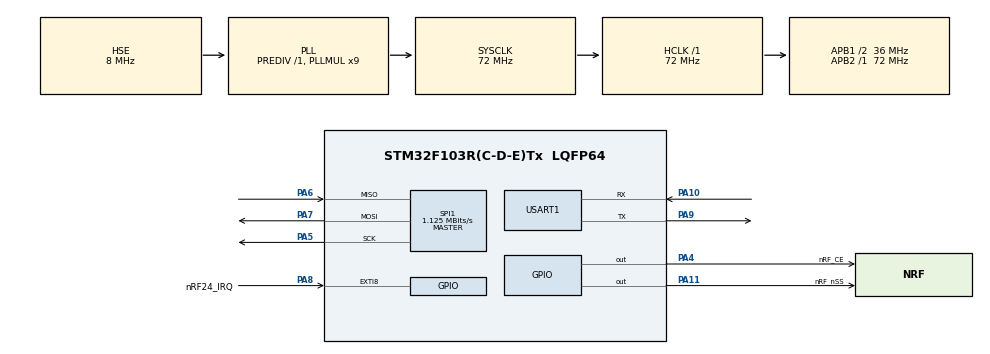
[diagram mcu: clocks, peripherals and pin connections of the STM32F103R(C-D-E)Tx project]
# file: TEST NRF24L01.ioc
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Mcu.Family=STM32F1
Mcu.Name=STM32F103R(C-D-E)Tx
Mcu.Package=LQFP64
NVIC.EXTI9_5_IRQn=true\:0\:0\:false\:false\:true\:true
NVIC.PriorityGroup=NVIC_PRIORITYGROUP_4
NVIC.USART1_IRQn=true\:0\:0\:false\:false\:true\:true
PA10.Mode=Asynchronous
PA10.Signal=USART1_RX
PA11.GPIO_Label=nRF_nSS
PA11.GPIO_ModeDefaultOutputPP=GPIO_MODE_OUTPUT_PP
PA11.GPIO_Speed=GPIO_SPEED_FREQ_HIGH
PA11.PinState=GPIO_PIN_SET
PA11.Signal=GPIO_Output
PA13.Mode=Serial_Wire
PA13.Signal=SYS_JTMS-SWDIO
PA14.Mode=Serial_Wire
PA14.Signal=SYS_JTCK-SWCLK
PA4.GPIO_Label=nRF_CE
PA4.GPIO_Speed=GPIO_SPEED_FREQ_HIGH
PA4.PinState=GPIO_PIN_SET
PA4.Signal=GPIO_Output
PA5.Mode=Full_Duplex_Master
PA5.Signal=SPI1_SCK
PA6.Mode=Full_Duplex_Master
PA6.Signal=SPI1_MISO
PA7.Mode=Full_Duplex_Master
PA7.Signal=SPI1_MOSI
PA8.GPIO_Label=nRF24_IRQ
PA8.GPIO_ModeDefaultEXTI=GPIO_MODE_IT_FALLING
PA8.Signal=GPXTI8
PA9.Mode=Asynchronous
PA9.Signal=USART1_TX
PD0-OSC_IN.Mode=HSE-External-Oscillator
PD0-OSC_IN.Signal=RCC_OSC_IN
PD1-OSC_OUT.Mode=HSE-External-Oscillator
PD1-OSC_OUT.Signal=RCC_OSC_OUT
ProjectManager.HeapSize=0x200
ProjectManager.StackSize=0x400
ProjectManager.TargetToolchain=MDK-ARM V5
RCC.AHBFreq_Value=72000000
RCC.APB1CLKDivider=RCC_HCLK_DIV2
RCC.APB1Freq_Value=36000000
RCC.APB1TimFreq_Value=72000000
RCC.APB2Freq_Value=72000000
RCC.APB2TimFreq_Value=72000000
RCC.HCLKFreq_Value=72000000
RCC.PLLMUL=RCC_PLL_MUL9
RCC.PLLSourceVirtual=RCC_PLLSOURCE_HSE
RCC.SYSCLKFreq_VALUE=72000000
RCC.SYSCLKSource=RCC_SYSCLKSOURCE_PLLCLK
RCC.USBFreq_Value=72000000
SPI1.BaudRatePrescaler=SPI_BAUDRATEPRESCALER_64
SPI1.CalculateBaudRate=1.125 MBits/s
SPI1.Direction=SPI_DIRECTION_2LINES
SPI1.Mode=SPI_MODE_MASTER
SPI1.VirtualType=VM_MASTER
USART1.VirtualMode=VM_ASYNC
board=TEST NRF24L01

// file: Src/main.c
/**
  ******************************************************************************
  * @file           : main.c
  * @brief          : Main program body
  ******************************************************************************
  ** This notice applies to any and all portions of this file
  * that are not between comment pairs USER CODE BEGIN and
  * USER CODE END. Other portions of this file, whether
  * inserted by the user or by software development tools
  * are owned by their respective copyright owners.
  *
  * COPYRIGHT(c) 2018 STMicroelectronics
  *
  * Redistribution and use in source and binary forms, with or without modification,
  * are permitted provided that the following conditions are met:
  *   1. Redistributions of source code must retain the above copyright notice,
  *      this list of conditions and the following disclaimer.
  *   2. Redistributions in binary form must reproduce the above copyright notice,
  *      this list of conditions and the following disclaimer in the documentation
  *      and/or other materials provided with the distribution.
  *   3. Neither the name of STMicroelectronics nor the names of its contributors
  *      may be used to endorse or promote products derived from this software
  *      without specific prior written permission.
  *
  * THIS SOFTWARE IS PROVIDED BY THE COPYRIGHT HOLDERS AND CONTRIBUTORS "AS IS"
  * AND ANY EXPRESS OR IMPLIED WARRANTIES, INCLUDING, BUT NOT LIMITED TO, THE
  * IMPLIED WARRANTIES OF MERCHANTABILITY AND FITNESS FOR A PARTICULAR PURPOSE ARE
  * DISCLAIMED. IN NO EVENT SHALL THE COPYRIGHT HOLDER OR CONTRIBUTORS BE LIABLE
  * FOR ANY DIRECT, INDIRECT, INCIDENTAL, SPECIAL, EXEMPLARY, OR CONSEQUENTIAL
  * DAMAGES (INCLUDING, BUT NOT LIMITED TO, PROCUREMENT OF SUBSTITUTE GOODS OR
  * SERVICES; LOSS OF USE, DATA, OR PROFITS; OR BUSINESS INTERRUPTION) HOWEVER
  * CAUSED AND ON ANY THEORY OF LIABILITY, WHETHER IN CONTRACT, STRICT LIABILITY,
  * OR TORT (INCLUDING NEGLIGENCE OR OTHERWISE) ARISING IN ANY WAY OUT OF THE USE
  * OF THIS SOFTWARE, EVEN IF ADVISED OF THE POSSIBILITY OF SUCH DAMAGE.
  *
  ******************************************************************************
  */
#include "main.h"
#include "stm32f1xx_hal.h"

/* USER CODE BEGIN Includes */
#include "nRF24L01P.h"
/* USER CODE END Includes */

SPI_HandleTypeDef hspi1;

UART_HandleTypeDef huart1;

/* USER CODE BEGIN PV */
/* Private variables ---------------------------------------------------------*/
nRF24L01P myNRF;
const uint8_t RXAddr[5] = {0xE7, 0xE7, 0xE7, 0xE7, 0xE7};
const uint8_t TXAddr[5] = {0xE7, 0xE7, 0xE7, 0xE7, 0xE7};
int check=0;
uint8_t Data[32], send[32]= "dfd test";
uint8_t RXBuffer[32], TXBuffer[32], regStatus, uartSent;
/* USER CODE END PV */

void SystemClock_Config(void);
static void MX_GPIO_Init(void);
static void MX_SPI1_Init(void);
static void MX_USART1_UART_Init(void);

/* USER CODE BEGIN PFP */
/* Private function prototypes -----------------------------------------------*/

/* USER CODE END PFP */

int main(void)
{

  /* MCU Configuration----------------------------------------------------------*/

  /* Reset of all peripherals, Initializes the Flash interface and the Systick. */
  HAL_Init();

  /* Configure the system clock */
  SystemClock_Config();

  /* Initialize all configured peripherals */
  MX_GPIO_Init();
  MX_SPI1_Init();
  MX_USART1_UART_Init();
  /* USER CODE BEGIN 2 */
//  myNRF.hspi = &hspi1;														// You should make this definition at CubeMX
//	myNRF.CRC_Width = nRF_CRC_WIDTH_BYTE;
//	myNRF.ADDR_Width = nRF_ADDR_WIDTH_5;
//	myNRF.Data_Rate = nRF_DATA_RATE_2MBPS;
//	myNRF.TX_Power = nRF_TX_PWR_0dBm;
//	myNRF.State = nRF_STATE_RX;

//	myNRF.RF_Channel = 2;
//	myNRF.PayloadWidth = nRF_RXPW_32BYTES;
//	myNRF.RetransmitCount = nRF_RETX_COUNT_5;
//	myNRF.RetransmitDelay = nRF_RETX_DELAY_1000uS;

//	myNRF.RX_Address = (uint8_t *)RXAddr;
//	myNRF.TX_Address = (uint8_t *)TXAddr;

//	myNRF.RX_Buffer = RXBuffer;   // khai bao mang luu du lieu
//	myNRF.TX_Buffer = TXBuffer;

//	myNRF.nRF_nSS_GPIO_PORT = nRF_nSS_GPIO_Port;	// You should make this definition at CubeMX
//	myNRF.nRF_nSS_GPIO_PIN = nRF_nSS_Pin;					// You should make this definition at CubeMX

//	myNRF.nRF_CE_GPIO_PORT = nRF_CE_GPIO_Port;		// You should make this definition at CubeMX
//	myNRF.nRF_CE_GPIO_PIN = nRF_CE_Pin;						// You should make this definition at CubeMX
//	/* ---- myNRF24L01+ Definitions ---- */
//
//	if(HAL_nRF24L01P_Init(&myNRF) != HAL_OK)
//	{
//		check=1;
//		HAL_UART_Transmit(&huart1, (uint8_t *)"nRF24 Init fucked UP!\r\n", 23, 250);
//		Error_Handler();
//	} else {
//		check=2;
//		HAL_UART_Transmit(&huart1, (uint8_t *)"nRF24 Init is OK!\r\n", 19, 250);
//	}
//	uartSent = 1;u
  myNRF.hspi = &hspi1;														// You should make this definition at CubeMX
	myNRF.CRC_Width = nRF_CRC_WIDTH_BYTE;
	myNRF.ADDR_Width = nRF_ADDR_WIDTH_5;
	myNRF.Data_Rate = nRF_DATA_RATE_2MBPS;
	myNRF.TX_Power = nRF_TX_PWR_0dBm;
	myNRF.State = nRF_STATE_TX;

	myNRF.RF_Channel = 2;
	myNRF.PayloadWidth = nRF_RXPW_32BYTES;
	myNRF.RetransmitCount = nRF_RETX_COUNT_5;
	myNRF.RetransmitDelay = nRF_RETX_DELAY_1000uS;

	myNRF.RX_Address = (uint8_t *)RXAddr;
	myNRF.TX_Address = (uint8_t *)TXAddr;

	myNRF.RX_Buffer = RXBuffer;
	myNRF.TX_Buffer = TXBuffer;

	myNRF.nRF_nSS_GPIO_PORT = nRF_nSS_GPIO_Port;	// You should make this definition at CubeMX
	myNRF.nRF_nSS_GPIO_PIN = nRF_nSS_Pin;					// You should make this definition at CubeMX

	myNRF.nRF_CE_GPIO_PORT = nRF_CE_GPIO_Port;		// You should make this definition at CubeMX
	myNRF.nRF_CE_GPIO_PIN = nRF_CE_Pin;						// You should make this definition at CubeMX
	if(HAL_nRF24L01P_Init(&myNRF) != HAL_OK)
	{
		check=1;
		HAL_UART_Transmit(&huart1, (uint8_t *)"nRF24 Init fucked UP!\r\n", 23, 250);
		Error_Handler();

	} else {
		HAL_UART_Transmit(&huart1, (uint8_t *)"nRF24 Init is OK!\r\n", 19, 250);
		check=2;
	}
  /* USER CODE END 2 */

  /* Infinite loop */
  while (1)
  {

  /* USER CODE BEGIN 3 */
   HAL_nRF24L01P_TransmitPacket(&myNRF, send);
	 HAL_Delay(200);
  }
  /* USER CODE END 3 */

}

void SystemClock_Config(void)
{

  RCC_OscInitTypeDef RCC_OscInitStruct;
  RCC_ClkInitTypeDef RCC_ClkInitStruct;

    /**Initializes the CPU, AHB and APB busses clocks
    */
  RCC_OscInitStruct.OscillatorType = RCC_OSCILLATORTYPE_HSE;
  RCC_OscInitStruct.HSEState = RCC_HSE_ON;
  RCC_OscInitStruct.HSEPredivValue = RCC_HSE_PREDIV_DIV1;
  RCC_OscInitStruct.HSIState = RCC_HSI_ON;
  RCC_OscInitStruct.PLL.PLLState = RCC_PLL_ON;
  RCC_OscInitStruct.PLL.PLLSource = RCC_PLLSOURCE_HSE;
  RCC_OscInitStruct.PLL.PLLMUL = RCC_PLL_MUL9;
  if (HAL_RCC_OscConfig(&RCC_OscInitStruct) != HAL_OK)
  {
    _Error_Handler(__FILE__, __LINE__);
  }

    /**Initializes the CPU, AHB and APB busses clocks
    */
  RCC_ClkInitStruct.ClockType = RCC_CLOCKTYPE_HCLK|RCC_CLOCKTYPE_SYSCLK
                              |RCC_CLOCKTYPE_PCLK1|RCC_CLOCKTYPE_PCLK2;
  RCC_ClkInitStruct.SYSCLKSource = RCC_SYSCLKSOURCE_PLLCLK;
  RCC_ClkInitStruct.AHBCLKDivider = RCC_SYSCLK_DIV1;
  RCC_ClkInitStruct.APB1CLKDivider = RCC_HCLK_DIV2;
  RCC_ClkInitStruct.APB2CLKDivider = RCC_HCLK_DIV1;

  if (HAL_RCC_ClockConfig(&RCC_ClkInitStruct, FLASH_LATENCY_2) != HAL_OK)
  {
    _Error_Handler(__FILE__, __LINE__);
  }

    /**Configure the Systick interrupt time
    */
  HAL_SYSTICK_Config(HAL_RCC_GetHCLKFreq()/1000);

    /**Configure the Systick
    */
  HAL_SYSTICK_CLKSourceConfig(SYSTICK_CLKSOURCE_HCLK);

  /* SysTick_IRQn interrupt configuration */
  HAL_NVIC_SetPriority(SysTick_IRQn, 0, 0);
}

/* SPI1 init function */
static void MX_SPI1_Init(void)
{

  /* SPI1 parameter configuration*/
  hspi1.Instance = SPI1;
  hspi1.Init.Mode = SPI_MODE_MASTER;
  hspi1.Init.Direction = SPI_DIRECTION_2LINES;
  hspi1.Init.DataSize = SPI_DATASIZE_8BIT;
  hspi1.Init.CLKPolarity = SPI_POLARITY_LOW;
  hspi1.Init.CLKPhase = SPI_PHASE_1EDGE;
  hspi1.Init.NSS = SPI_NSS_SOFT;
  hspi1.Init.BaudRatePrescaler = SPI_BAUDRATEPRESCALER_64;
  hspi1.Init.FirstBit = SPI_FIRSTBIT_MSB;
  hspi1.Init.TIMode = SPI_TIMODE_DISABLE;
  hspi1.Init.CRCCalculation = SPI_CRCCALCULATION_DISABLE;
  hspi1.Init.CRCPolynomial = 10;
  if (HAL_SPI_Init(&hspi1) != HAL_OK)
  {
    _Error_Handler(__FILE__, __LINE__);
  }

}

/* USART1 init function */
static void MX_USART1_UART_Init(void)
{

  huart1.Instance = USART1;
  huart1.Init.BaudRate = 115200;
  huart1.Init.WordLength = UART_WORDLENGTH_8B;
  huart1.Init.StopBits = UART_STOPBITS_1;
  huart1.Init.Parity = UART_PARITY_NONE;
  huart1.Init.Mode = UART_MODE_TX_RX;
  huart1.Init.HwFlowCtl = UART_HWCONTROL_NONE;
  huart1.Init.OverSampling = UART_OVERSAMPLING_16;
  if (HAL_UART_Init(&huart1) != HAL_OK)
  {
    _Error_Handler(__FILE__, __LINE__);
  }

}

/** Configure pins as
        * Analog
        * Input
        * Output
        * EVENT_OUT
        * EXTI
*/
static void MX_GPIO_Init(void)
{

  GPIO_InitTypeDef GPIO_InitStruct;

  /* GPIO Ports Clock Enable */
  __HAL_RCC_GPIOD_CLK_ENABLE();
  __HAL_RCC_GPIOA_CLK_ENABLE();

  /*Configure GPIO pin Output Level */
  HAL_GPIO_WritePin(GPIOA, nRF_CE_Pin|nRF_nSS_Pin, GPIO_PIN_SET);

  /*Configure GPIO pins : nRF_CE_Pin nRF_nSS_Pin */
  GPIO_InitStruct.Pin = nRF_CE_Pin|nRF_nSS_Pin;
  GPIO_InitStruct.Mode = GPIO_MODE_OUTPUT_PP;
  GPIO_InitStruct.Speed = GPIO_SPEED_FREQ_HIGH;
  HAL_GPIO_Init(GPIOA, &GPIO_InitStruct);

  /*Configure GPIO pin : nRF24_IRQ_Pin */
  GPIO_InitStruct.Pin = nRF24_IRQ_Pin;
  GPIO_InitStruct.Mode = GPIO_MODE_IT_FALLING;
  GPIO_InitStruct.Pull = GPIO_NOPULL;
  HAL_GPIO_Init(nRF24_IRQ_GPIO_Port, &GPIO_InitStruct);

  /* EXTI interrupt init*/
  HAL_NVIC_SetPriority(EXTI9_5_IRQn, 0, 0);
  HAL_NVIC_EnableIRQ(EXTI9_5_IRQn);

}

/* USER CODE BEGIN 4 */
/* USER CODE BEGIN 4 */

/* USER CODE END 4 */

void _Error_Handler(char *file, int line)
{
  while(1)
  {
  }
}

/************************ (C) COPYRIGHT STMicroelectronics *****END OF FILE****/
